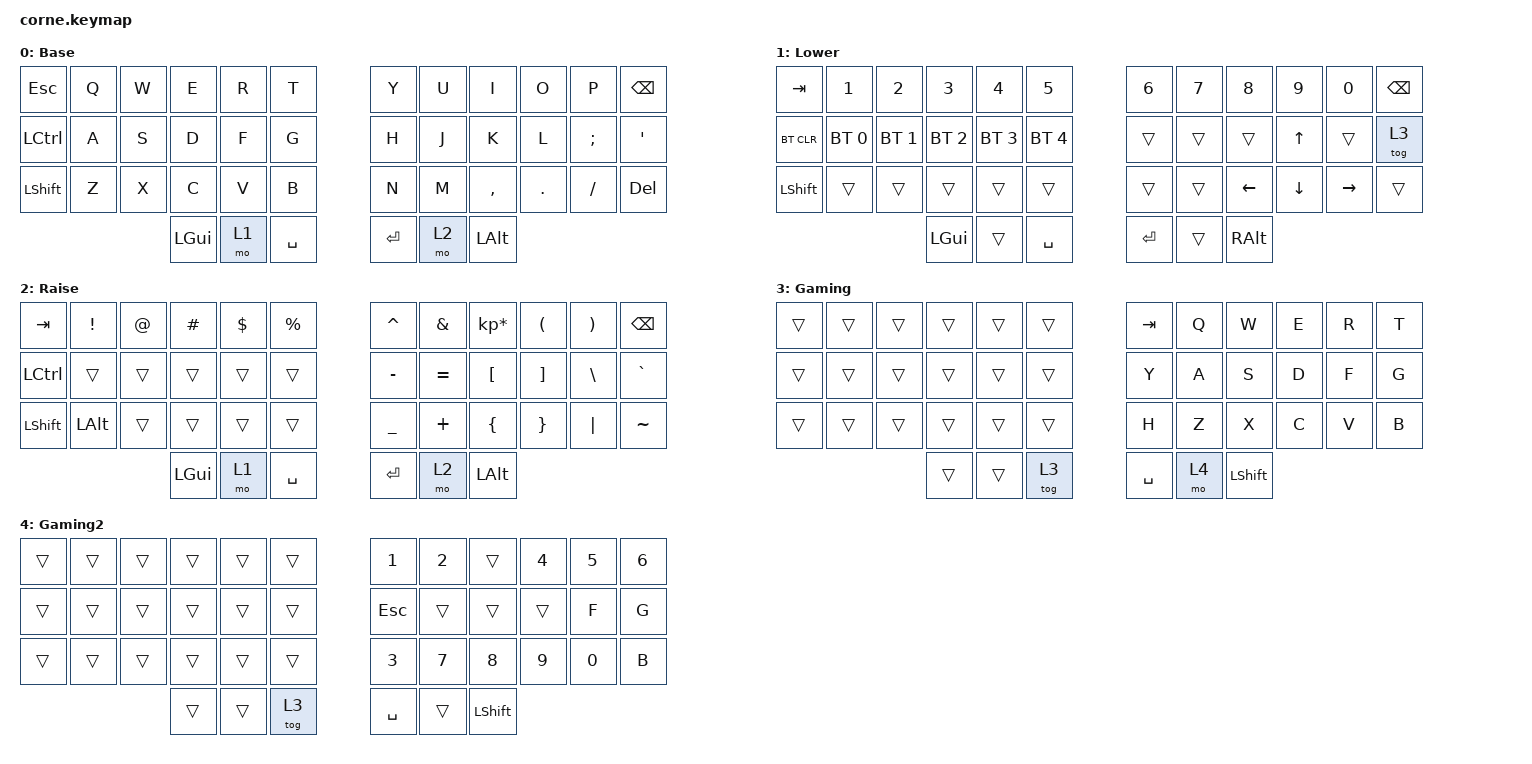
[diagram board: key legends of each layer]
/*
 * Copyright (c) 2020 The ZMK Contributors
 *
 * SPDX-License-Identifier: MIT
 */

#include <behaviors.dtsi>
#include <dt-bindings/zmk/keys.h>
#include <dt-bindings/zmk/bt.h>

// LAYERS
#define DEFAULT 0
#define SYS 1
#define FUNC 2
#define GAMING 3
#define GAMING2 4

/ {
        behaviors { 
                hm: homerow_mods {
                        compatible = "zmk,behavior-hold-tap";
                        label = "HOMEROW_MODS";
                        #binding-cells = <2>;
                        tapping-term-ms = <200>;
                        quick-tap-ms = <0>;
                        flavor = "tap-preferred";
                        bindings = <&kp>, <&kp>;
                };
        };
};

/ {
        keymap {
                compatible = "zmk,keymap";

                default_layer {
                        display-name = "Base";
                        bindings = <
   &kp ESC   &kp Q &kp W &kp E &kp R &kp T   &kp Y &kp U  &kp I     &kp O   &kp P    &kp BSPC
   &kp LCTRL &kp A &kp S &kp D &kp F &kp G   &kp H &kp J  &kp K     &kp L   &kp SEMI &kp SQT
   &kp LSHFT &kp Z &kp X &kp C &kp V &kp B   &kp N &kp M  &kp COMMA &kp DOT &kp FSLH &kp DELETE
                  &kp LGUI &mo 1 &kp SPACE   &kp ENTER &mo 2 &kp LALT
                        >;
                };
                lower_layer {
                        display-name = "Lower";
                        bindings = <
   &kp TAB    &kp N1       &kp N2       &kp N3       &kp N4       &kp N5         &kp N6   &kp N7   &kp N8 &kp N9    &kp N0 &kp BSPC
   &bt BT_CLR &bt BT_SEL 0 &bt BT_SEL 1 &bt BT_SEL 2 &bt BT_SEL 3 &bt BT_SEL 4   &trans &trans &trans &kp UP &trans &tog 3
   &kp LSHFT  &trans       &trans       &trans       &trans       &trans         &trans   &trans   &kp LEFT &kp DOWN    &kp RIGHT &trans
                          	        &kp LGUI     &trans       &kp SPACE      &kp RET  &trans   &kp RALT
                        >;
                };

                raise_layer {
                        display-name = "Raise";
                        bindings = < 
        &kp TAB   &kp EXCL &kp AT &kp HASH &kp DLLR &kp PRCNT   &kp CARET &kp AMPS  &kp KP_MULTIPLY &kp LPAR &kp RPAR &kp BSPC
        &kp LCTRL &trans &trans &trans &trans &trans   &kp MINUS &kp EQUAL  &kp LBKT     &kp RBKT   &kp BSLH &kp GRAVE
        &kp LSHFT &kp LALT &trans &trans &trans &trans   &kp UNDER &kp PLUS  &kp LBRC &kp RBRC &kp PIPE &kp TILDE
                  &kp LGUI &mo 1 &kp SPACE   &kp ENTER &mo 2 &kp LALT
                        >;
                };

                gaming_layer {
                        display-name = "Gaming";
                        bindings = <
   &trans    &trans      &trans       &trans      &trans       &trans       &kp TAB &kp Q   &kp W    &kp E   &kp R    &kp T
   &trans    &trans      &trans       &trans      &trans       &trans       &kp Y   &kp A   &kp S    &kp D   &kp F    &kp G
   &trans    &trans      &trans       &trans      &trans       &trans       &kp H   &kp Z   &kp X    &kp C   &kp V    &kp B
                          	        &trans     &trans       &tog 3        &kp SPACE  &mo 4   &kp LSHIFT
                        >;
                };

                gaming_layer2 {
                        display-name = "Gaming2";
                        bindings = <
   &trans    &trans      &trans       &trans      &trans       &trans       &kp N1   &kp N2   &trans    &kp N4   &kp N5    &kp N6
   &trans    &trans      &trans       &trans      &trans       &trans       &kp ESC   &trans   &trans    &trans  &kp F    &kp G
   &trans    &trans      &trans       &trans      &trans       &trans       &kp N3   &kp N7    &kp N8     &kp N9    &kp N0     &kp B
                          	        &trans     &trans       &tog 3        &kp SPACE  &trans   &kp LSHIFT
                        >;
                };

                extra_1 {
                        status = "reserved";
                };

                extra_2 {
                        status = "reserved";
                };

                extra_3 {
                        status = "reserved";
                };
        };
};


